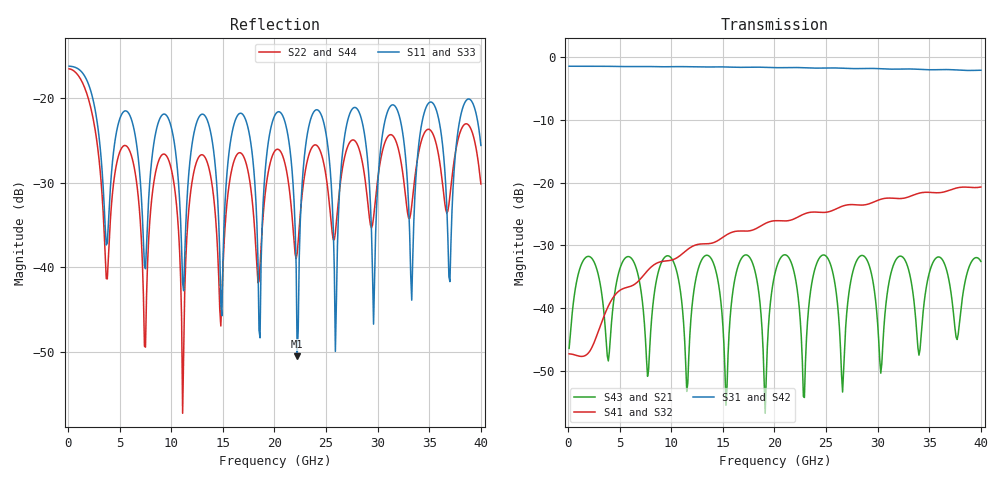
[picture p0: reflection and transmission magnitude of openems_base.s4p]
! T_ts6_broadside_o0: Broadside: In2 over In3 across the 0.93 mm core, lateral offset 0 mm, 20 mm
! stackup: ThunderScope Rev5.3 6-layer (FR408HR / FR-4, from the board file)
! ports: 1 near A, 2 near B, 3 far A, 4 far B
! openEMS 0.37.0, staircase, base mesh (dfine 0.035 mm), 615328 cells
# Hz S RI R 50
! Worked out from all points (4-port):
!   400 points, 100 MHz to 40 GHz, reference 50 ohm
!   strongest paths, dB at 100 MHz, 10.1 GHz, 20.1 GHz, 30.1 GHz, 40 GHz:
!     S31: -1.5, -1.5, -1.7, -1.8, -2.1
!     S42: -1.4, -1.5, -1.7, -1.9, -2.2
!     S41: -47.3, -32.3, -26.1, -22.8, -20.7
!     S32: -47.3, -32.3, -26.1, -22.8, -20.7
!     S43: -46.4, -32.3, -34.1, -45.2, -32.6
!     S21: -46.4, -32.3, -34.1, -45.2, -32.6
!   lowest |S11| = -50.5 dB at 22.2 GHz (marker M1), VSWR 1.01, Z = 50 + j0.297 ohm
!   |S11| at or under -10 dB: start of sweep to end of sweep
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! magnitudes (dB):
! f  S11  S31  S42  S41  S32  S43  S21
! 100 MHz  -16.2  -1.5  -1.4  -47.3  -47.3  -46.4  -46.4
! 11.1 GHz  -41.9  -1.5  -1.5  -31.3  -31.3  -40.5  -40.5
! 12.7 GHz  -22.2  -1.6  -1.6  -29.8  -29.8  -33.3  -33.3
! 22.2 GHz  -50.5  -1.7  -1.7  -25.6  -25.6  -37.0  -37.0
! 23.9 GHz  -21.5  -1.8  -1.8  -24.7  -24.7  -33.9  -33.9
! 25.9 GHz  -49.9  -1.7  -1.8  -24.3  -24.3  -36.6  -36.6
! 40 GHz  -25.6  -2.1  -2.2  -20.7  -20.7  -32.6  -32.6
